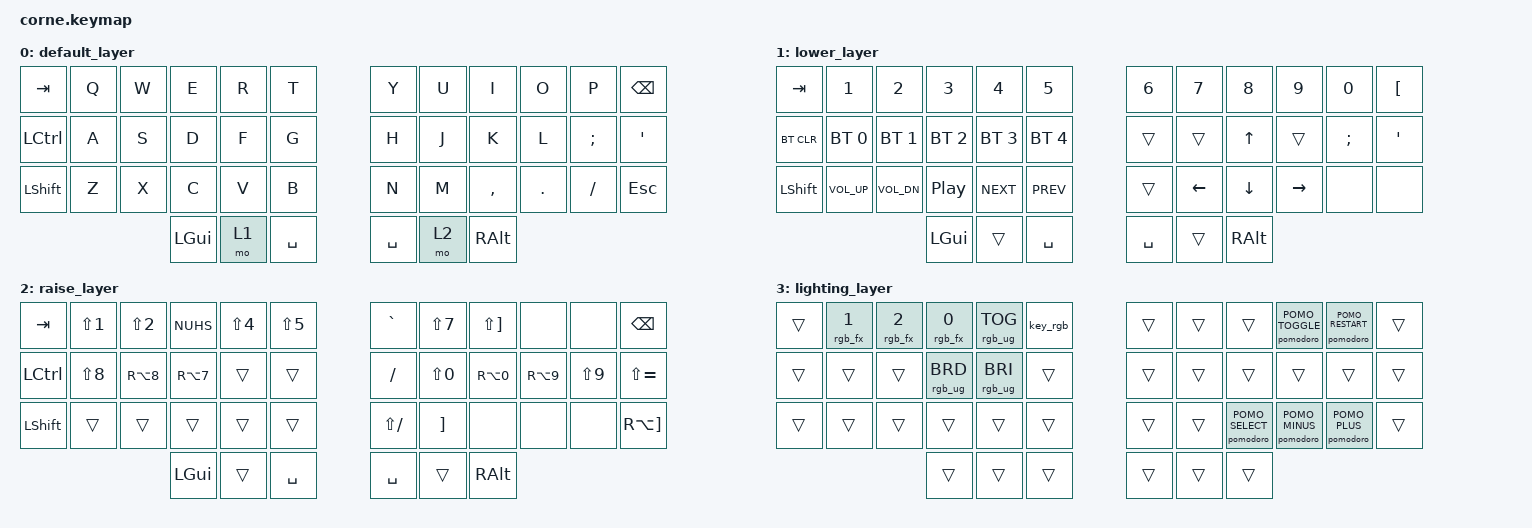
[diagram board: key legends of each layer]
/*
 * Copyright (c) 2020 The ZMK Contributors
 *
 * SPDX-License-Identifier: MIT
 */

#include <behaviors.dtsi>
#include <dt-bindings/zmk/keys.h>
#include <dt-bindings/zmk/bt.h>
#include <dt-bindings/zmk/rgb.h>
#include <key_rgb.dtsi>
#include <corne_controller_led.dtsi>
#include <pomodoro.dtsi>
#include <pomodoro_commands.h>

/* Per half: 6 underglow LEDs followed by 21 switch LEDs. */
&led_strip {
        chain-length = <27>;
};

/ {
        combos {
                compatible = "zmk,combos";

                combo_jlk_enter {
                        timeout-ms = <50>;
                        key-positions = <19 20 21>; /* J K L */
                        bindings = <&kp RET>;
                        layers = <0>;
                };
                combo_lk_backspace {
                        timeout-ms = <50>;
                        key-positions = <20 21>; /* K L */
                        bindings = <&kp BSPC>;
                        layers = <0>;
                };
                combo_sfd_escape {
                        timeout-ms = <50>;
                        key-positions = <14 15 16>; /* S D F */
                        bindings = <&kp ESC>;
                        layers = <0>;
                };
                combo_p_backspace_delete {
                        timeout-ms = <50>;
                        key-positions = <10 11>; /* P + Backspace */
                        bindings = <&kp DEL>;
                        layers = <0>;
                };
        };

        conditional_layers {
                compatible = "zmk,conditional-layers";
                lighting { if-layers = <1 2>; then-layer = <3>; };
        };

        keymap {
                compatible = "zmk,keymap";

                default_layer {
                        // Base
                        // | Tab  |  Q   |  W   |  E   |  R   |  T   ||  Y   |  U   |  I   |  O   |  P   | Bksp |
                        // | Ctrl |  A   |  S   |  D   |  F   |  G   ||  H   |  J   |  K   |  L   |  ;   |  '   |
                        // |Shift |  Z   |  X   |  C   |  V   |  B   ||  N   |  M   |  ,   |  .   |  /   | Esc  |
                        //                      | GUI  |Lower |Space ||Space |Raise | RAlt |
                        bindings = <
   &kp TAB   &kp Q &kp W &kp E &kp R &kp T   &kp Y &kp U  &kp I     &kp O   &kp P    &kp BSPC
   &kp LCTRL &kp A &kp S &kp D &kp F &kp G   &kp H &kp J  &kp K     &kp L   &kp SEMI &kp SQT
   &kp LSHFT &kp Z &kp X &kp C &kp V &kp B   &kp N &kp M  &kp COMMA &kp DOT &kp FSLH &kp ESC
                  &kp LGUI &mo 1 &kp SPACE &kp SPACE &mo 2 &kp RALT
                        >;
                };
                lower_layer {
                        // Lower (left middle thumb, DE)
                        // . = transparent; blank = disabled; Play = play/pause
                        // | Tab  |  1   |  2   |  3   |  4   |  5   ||  6   |  7   |  8   |  9   |  0   |  ü   |
                        // |BT clr| BT1  | BT2  | BT3  | BT4  | BT5  ||  .   |  .   |  Up  |  .   |  ö   |  ä   |
                        // |Shift | Vol+ | Vol- | Play | Next | Prev ||  .   | Left | Down |Right |      |      |
                        //                      | GUI  |  .   |Space ||Space |  .   | RAlt |
                        bindings = <
   &kp TAB    &kp N1       &kp N2       &kp N3       &kp N4       &kp N5         &kp N6   &kp N7   &kp N8   &kp N9     &kp N0   &kp LBKT
   &bt BT_CLR &bt BT_SEL 0 &bt BT_SEL 1 &bt BT_SEL 2 &bt BT_SEL 3 &bt BT_SEL 4   &trans   &trans   &kp UP   &trans     &kp SEMI &kp SQT
   &kp LSHFT  &kp C_VOL_UP &kp C_VOL_DN &kp C_PP    &kp C_NEXT  &kp C_PREV     &trans   &kp LEFT &kp DOWN &kp RIGHT  &none    &none
                                    &kp LGUI     &trans       &kp SPACE    &kp SPACE  &trans   &kp RALT
                        >;
                };

                raise_layer {
                        // Raise (right middle thumb, DE)
                        // . = transparent; blank = disabled
                        // | Tab  |  !   |  "   |  #   |  $   |  %   ||  ^   |  /   |  *   |      |      | Bksp |
                        // | Ctrl |  (   |  [   |  {   |  .   |  .   ||  -   |  =   |  }   |  ]   |  )   |  `   |
                        // |Shift |  .   |  .   |  .   |  .   |  .   ||  _   |  +   |      |      |      |  ~   |
                        //                      | GUI  |  .   |Space ||Space |  .   | RAlt |
                        bindings = <
   &kp TAB   &kp LS(N1) &kp LS(N2) &kp NUHS   &kp LS(N4) &kp LS(N5)   &kp GRAVE    &kp LS(N7) &kp LS(RBKT) &none      &none      &kp BSPC
   &kp LCTRL &kp LS(N8) &kp RA(N8) &kp RA(N7) &trans     &trans       &kp FSLH     &kp LS(N0) &kp RA(N0)   &kp RA(N9) &kp LS(N9) &kp LS(EQUAL)
   &kp LSHFT &trans     &trans     &trans     &trans     &trans       &kp LS(FSLH) &kp RBKT   &none        &none      &none      &kp RA(RBKT)
                             &kp LGUI &trans   &kp SPACE &kp SPACE   &trans    &kp RALT
                        >;
                };

                lighting_layer {
                        // Lighting (hold Lower + Raise)
                        // . = transparent; RGB = on/off; KeyLED = key LEDs; Pomo = start/stop
                        // Reset = restart focus; Phase = choose focus/break; -/+ = set duration
                        // |  .   |Color<|Color>|Effect| RGB  |KeyLED||  .   |  .   |  .   | Pomo |Reset |  .   |
                        // |  .   |  .   |  .   | Dim  |Bright|  .   ||  .   |  .   |  .   |  .   |  .   |  .   |
                        // |  .   |  .   |  .   |  .   |  .   |  .   ||  .   |  .   |Phase |  -   |  +   |  .   |
                        //                      |  .   |  .   |  .   ||  .   |  .   |  .   |
                        bindings = <
   &trans &rgb_fx 1 &rgb_fx 2 &rgb_fx 0 &rgb_ug RGB_TOG &key_rgb   &trans &trans &trans &pomodoro POMO_TOGGLE &pomodoro POMO_RESTART &trans
   &trans &trans &trans &rgb_ug RGB_BRD &rgb_ug RGB_BRI &trans     &trans &trans &trans &trans &trans &trans
   &trans &trans &trans &trans          &trans           &trans     &trans &trans &pomodoro POMO_SELECT &pomodoro POMO_MINUS &pomodoro POMO_PLUS &trans
                        &trans          &trans           &trans     &trans &trans &trans
                        >;
                };
        };
};
